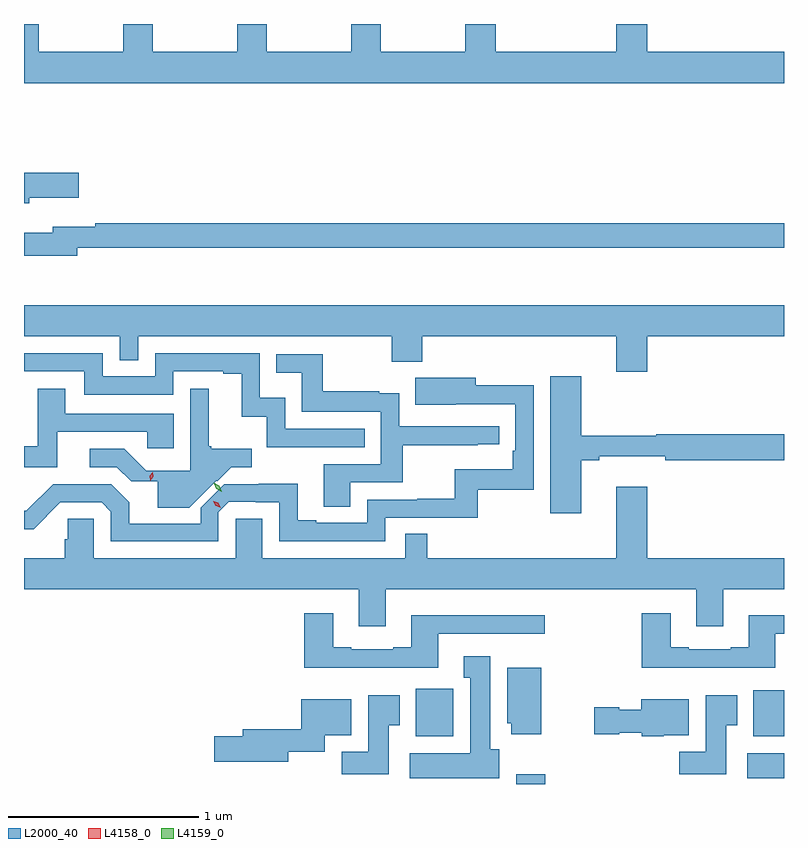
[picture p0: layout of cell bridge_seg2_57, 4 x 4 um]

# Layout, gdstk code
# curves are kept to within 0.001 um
import gdstk
lib = gdstk.Library(unit=1e-6, precision=1e-09)
def R(c, l, rs):  # rectangles x0, y0, x1, y1
    for r in rs: c.add(gdstk.rectangle(r[:2], r[2:], *l))
def P(c, l, *ps):  # polygons
    for p in ps: c.add(gdstk.Polygon(p, *l))
L2000_40 = (2000, 40)
L4158_0 = (4158, 0)
L4159_0 = (4159, 0)

bridge_seg2_57 = lib.new_cell('bridge_seg2_57')
R(bridge_seg2_57, L2000_40, [(1003.643,622.635,1003.796,622.687), (1004.859,622.664,1005.052,622.798), (1003.115,622.886,1003.311,623.137), (1004.891,622.886,1005.052,623.128)])
P(bridge_seg2_57, L2000_40, [(1005.052,626.488),(1004.332,626.488),(1004.332,626.635),(1004.168,626.635),(1004.168,626.488),(1003.535,626.488),(1003.535,626.635),(1003.375,626.635),(1003.375,626.488),(1002.93,626.488),(1002.93,626.635),(1002.775,626.635),(1002.775,626.488),(1002.33,626.488),(1002.33,626.635),(1002.175,626.635),(1002.175,626.488),(1001.73,626.488),(1001.73,626.635),(1001.575,626.635),(1001.575,626.488),(1001.13,626.488),(1001.13,626.635),(1001.052,626.635),(1001.052,626.324),(1005.052,626.324)],
  [(1001.08,625.721),(1001.341,625.721),(1001.341,625.851),(1001.052,625.851),(1001.052,625.691),(1001.08,625.691)],
  [(1001.332,625.458),(1005.052,625.458),(1005.052,625.586),(1001.428,625.586),(1001.428,625.567),(1001.204,625.567),(1001.204,625.537),(1001.052,625.537),(1001.052,625.415),(1001.332,625.415)],
  [(1004.332,624.992),(1005.052,624.992),(1005.052,625.156),(1001.052,625.156),(1001.052,624.992),(1001.556,624.992),(1001.556,624.865),(1001.652,624.865),(1001.652,624.992),(1002.988,624.992),(1002.988,624.857),(1003.148,624.857),(1003.148,624.992),(1004.168,624.992),(1004.168,624.804),(1004.332,624.804)],
  [(1002.845,624.504),(1002.426,624.504),(1002.426,624.667),(1002.294,624.667),(1002.294,624.903),(1001.742,624.903),(1001.742,624.78),(1001.466,624.78),(1001.466,624.903),(1001.052,624.903),(1001.052,624.807),(1001.37,624.807),(1001.37,624.684),(1001.838,624.684),(1001.838,624.807),(1002.101,624.807),(1002.101,624.795),(1002.197,624.795),(1002.197,624.569),(1002.33,624.569),(1002.33,624.408),(1002.845,624.408)],
  [(1002.769,624.222),(1003.046,624.222),(1003.046,624.418),(1003.439,624.418),(1003.439,624.423),(1003.552,624.423),(1003.552,624.519),(1003.026,624.519),(1003.026,624.691),(1002.923,624.691),(1002.923,624.703),(1002.625,624.703),(1002.625,624.897),(1002.379,624.897),(1002.379,624.8),(1002.514,624.8),(1002.514,624.594),(1002.93,624.594),(1002.93,624.318),(1002.629,624.318),(1002.629,624.094),(1002.769,624.094)],
  [(1003.984,624.34),(1004.08,624.34),(1004.08,624.359),(1004.428,624.359),(1004.428,624.34),(1005.052,624.34),(1005.052,624.476),(1004.38,624.476),(1004.38,624.469),(1003.984,624.469),(1003.984,624.781),(1003.823,624.781),(1003.823,624.06),(1003.984,624.06)],
  [(1002.075,624.066),(1002.13,624.121),(1002.271,624.121),(1002.271,624.117),(1002.396,624.117),(1002.396,623.913),(1002.954,623.913),(1002.954,624.036),(1003.441,624.036),(1003.441,624.183),(1003.734,624.183),(1003.734,624.734),(1003.429,624.734),(1003.429,624.772),(1003.111,624.772),(1003.111,624.632),(1003.638,624.633),(1003.638,624.388),(1003.625,624.388),(1003.625,624.292),(1003.32,624.292),(1003.32,624.137),(1003.123,624.137),(1003.123,624.132),(1002.858,624.132),(1002.858,624.009),(1002.589,624.009),(1002.589,624.022),(1002.493,624.022),(1002.493,624.215),(1002.288,624.215),(1002.288,624.213),(1002.107,624.213),(1001.982,624.088),(1001.982,624.006),(1001.605,624.006),(1001.605,624.119),(1001.511,624.213),(1001.205,624.213),(1001.064,624.072),(1001.052,624.072),(1001.052,623.975),(1001.102,623.975),(1001.244,624.117),(1001.46,624.117),(1001.508,624.069),(1001.508,623.913),(1002.075,623.913)],
  [(1002.065,624.232),(1002.068,624.229),(1002.142,624.303),(1002.25,624.303),(1002.25,624.4),(1002.037,624.4),(1002.037,624.412),(1002.025,624.412),(1002.025,624.715),(1001.928,624.715),(1001.928,624.285),(1001.695,624.285),(1001.58,624.399),(1001.397,624.399),(1001.397,624.303),(1001.541,624.303),(1001.616,624.228),(1001.757,624.228),(1001.757,624.088),(1001.922,624.088)],
  [(1001.227,624.489),(1001.701,624.489),(1001.701,624.402),(1001.839,624.402),(1001.839,624.585),(1001.269,624.585),(1001.269,624.715),(1001.125,624.715),(1001.125,624.412),(1001.052,624.412),(1001.052,624.303),(1001.227,624.303)],
  [(1002.955,623.66),(1004.591,623.66),(1004.591,623.466),(1004.731,623.466),(1004.731,623.66),(1005.052,623.66),(1005.052,623.824),(1004.332,623.824),(1004.332,624.199),(1004.168,624.199),(1004.168,623.824),(1003.175,623.824),(1003.175,623.951),(1003.059,623.951),(1003.059,623.824),(1002.307,623.824),(1002.307,624.032),(1002.167,624.032),(1002.167,623.824),(1001.418,623.824),(1001.418,624.032),(1001.281,624.032),(1001.281,623.922),(1001.267,623.922),(1001.267,623.824),(1001.052,623.824),(1001.052,623.66),(1002.815,623.66),(1002.815,623.466),(1002.955,623.466)],
  [(1003.231,623.427),(1003.792,623.427),(1003.792,623.524),(1003.091,623.524),(1003.091,623.356),(1002.995,623.356),(1002.995,623.343),(1002.775,623.343),(1002.775,623.356),(1002.679,623.356),(1002.679,623.533),(1002.527,623.533),(1002.527,623.246),(1003.231,623.246)],
  [(1005.007,623.427),(1005.052,623.427),(1005.052,623.524),(1004.867,623.524),(1004.867,623.356),(1004.771,623.356),(1004.771,623.343),(1004.551,623.343),(1004.551,623.356),(1004.455,623.356),(1004.455,623.533),(1004.303,623.533),(1004.303,623.246),(1005.007,623.246)],
  [(1003.552,622.818),(1003.507,622.818),(1003.507,623.308),(1003.367,623.308),(1003.367,623.195),(1003.4,623.195),(1003.4,622.798),(1003.083,622.798),(1003.083,622.664),(1003.552,622.664)],
  [(1003.774,623.248),(1003.595,623.248),(1003.595,622.956),(1003.616,622.956),(1003.616,622.896),(1003.774,622.896)],
  [(1004.749,622.945),(1004.806,622.945),(1004.806,623.101),(1004.639,623.101),(1004.639,622.804),(1004.5,622.804),(1004.5,622.686),(1004.749,622.686)],
  [(1002.973,622.945),(1003.03,622.945),(1003.03,623.101),(1002.863,623.101),(1002.863,622.804),(1002.724,622.804),(1002.724,622.686),(1002.973,622.686)],
  [(1002.442,622.805),(1002.634,622.805),(1002.634,622.892),(1002.775,622.892),(1002.775,623.08),(1002.512,623.08),(1002.512,622.922),(1002.203,622.922),(1002.203,622.886),(1002.054,622.886),(1002.054,622.751),(1002.442,622.751)],
  [(1004.418,622.892),(1004.551,622.892),(1004.551,623.08),(1004.3,623.08),(1004.3,623.026),(1004.184,623.026),(1004.184,623.039),(1004.052,623.039),(1004.052,622.897),(1004.184,622.897),(1004.184,622.904),(1004.304,622.904),(1004.304,622.886),(1004.418,622.886)])
P(bridge_seg2_57, L4158_0, [(1002.088,624.09),(1002.062,624.1),(1002.049,624.124),(1002.049,624.124),(1002.05,624.124),(1002.075,624.114),(1002.088,624.09),(1002.088,624.09)],
  [(1001.717,624.231),(1001.717,624.232),(1001.713,624.257),(1001.729,624.276),(1001.729,624.276),(1001.729,624.276),(1001.733,624.251),(1001.717,624.231)])
P(bridge_seg2_57, L4159_0, [(1002.093,624.174),(1002.065,624.19),(1002.051,624.22),(1002.051,624.221),(1002.051,624.221),(1002.08,624.204),(1002.094,624.174),(1002.094,624.174)])

lib.write_gds('bridge_seg2_57.gds')
